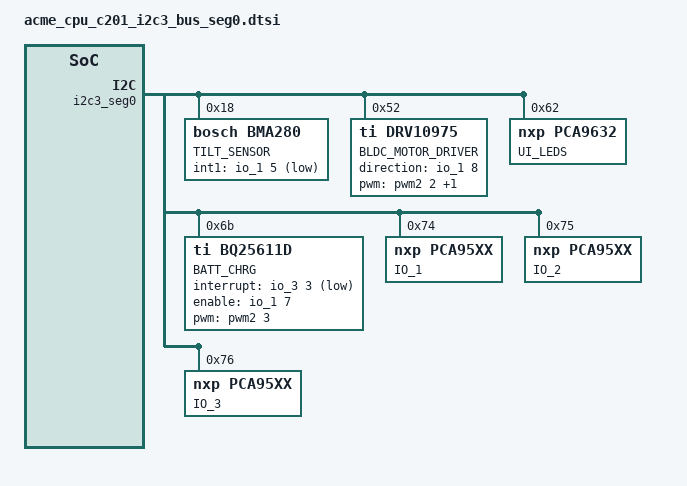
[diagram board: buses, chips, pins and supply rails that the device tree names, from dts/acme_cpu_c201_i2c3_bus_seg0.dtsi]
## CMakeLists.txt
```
# SPDX-License-Identifier: Apache-2.0

cmake_minimum_required(VERSION 3.13.1)

list(APPEND ZEPHYR_EXTRA_MODULES ${CMAKE_CURRENT_SOURCE_DIR}/modules)

set(PROJ_ROOT ${CMAKE_CURRENT_SOURCE_DIR}/)
set(DTS_ROOT ${CMAKE_CURRENT_SOURCE_DIR}/dts)
#set(DTC_OVERLAY_FILE "boards/stm32g474re_disco.overlay")

set(BOARD_ROOT ${CMAKE_CURRENT_LIST_DIR})
set(BOARD stm32g474re_disco)

find_package(Zephyr REQUIRED HINTS $ENV{ZEPHYR_BASE})
project(pca9545_test)

FILE(GLOB app_sources src/*.c)
target_sources(app PRIVATE ${app_sources})
```

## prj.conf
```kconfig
CONFIG_STDOUT_CONSOLE=y
CONFIG_PRINTK=y

CONFIG_I2C=y
CONFIG_I2C_MGM_PCA95XX=y
CONFIG_I2C_MGM_PCA95XX_INIT_PRIORITY=80

CONFIG_SENSOR=y
CONFIG_BMA280=y

CONFIG_ACME_CPU_C201_LED=y
CONFIG_PCA9632=y
```

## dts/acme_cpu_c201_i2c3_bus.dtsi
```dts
/*
 * Copyright (c) 2020 Volodymyr Sirous
 *
 * SPDX-License-Identifier: Apache-2.0
 */


&pinctrl {
  i2c3_scl: gpioc_8 {
    pinmux = <STM32_PINMUX('C', 8, (STM32_PINMUX_ALT_FUNC_8 | STM32_OTYPER_OPEN_DRAIN | STM32_OSPEEDR_HIGH_SPEED))>;
  };

  i2c3_sda: gpioc_9 {
    pinmux = <STM32_PINMUX('C', 9, (STM32_PINMUX_ALT_FUNC_8 | STM32_OTYPER_OPEN_DRAIN | STM32_OSPEEDR_HIGH_SPEED))>;
  };
};

&i2c3 {
  status = "okay";
  clock-frequency = <I2C_BITRATE_FAST>;
  pinctrl-0 = <&i2c3_scl &i2c3_sda>;
/*
  compatible = "st,stm32-i2c-dma-v2";
  dmas = <&dma1 0 0 0x0 0x0>,
	 <&dma1 0 0 0x0 0x0>;
  dma-names = "tx","rx";
  dma-label-tx = "DMA_TX_I2C_3";
  dma-label-rx = "DMA_RX_I2C_3";
*/

  i2c_mux: pca9545a@70 {
    compatible = "ti,pca9545a";
    reg = <0x70>;
    channel-number = <4>;
    label = "I2C_BUS_SWITCH";
    interrupts = <9 16>;
    reset-gpios = <&gpioa 8 GPIO_ACTIVE_LOW>;
    #address-cells = <1>;
    #size-cells = <0>;
/*    #channel-cells = <1>;*/
  
    i2c3_seg0: i2c-mux-ch@0 {
      compatible = "i2c-bus-switch";
      #address-cells = <1>;
      #size-cells = <0>;
      reg = <0>;
      label = "I2C3_SEG_0";
    };

    i2c3_seg1: i2c-mux-ch@1 {
      compatible = "i2c-bus-switch";
      #address-cells = <1>;
      #size-cells = <0>;
      reg = <1>;
      label = "I2C3_SEG_1";
    };
  
    i2c3_seg2: i2c-mux-ch@2 {
      compatible = "i2c-bus-switch";
      #address-cells = <1>;
      #size-cells = <0>;
      reg = <2>;
      label = "I2C3_SEG_2";
    };

    i2c3_seg3: i2c-mux-ch@3 {
      compatible = "i2c-bus-switch";
      #address-cells = <1>;
      #size-cells = <0>;
      reg = <3>;
      label = "I2C3_SEG_3";
    };

  };

};
```

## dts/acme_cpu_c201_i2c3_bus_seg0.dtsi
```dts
/*
 * Copyright (c) 2020 Volodymyr Sirous
 *
 * SPDX-License-Identifier: Apache-2.0
 */

&i2c3_seg0 {

  bma253@18 {
    compatible = "bosch,bma280";
    reg = <0x18>;
    label = "TILT_SENSOR";
    int1-gpios = <&io_1 5 GPIO_ACTIVE_LOW>;
  };

  drv10975@52 {
    compatible = "ti,drv10975";
    reg = <0x52>;
    label = "BLDC_MOTOR_DRIVER";
    direction-gpios = <&io_1 8 GPIO_ACTIVE_HIGH>;
    pwms = <&pwm2 2 10000000 0>,
           <&pwm2 1 10000000 0>;
    pwm-names = "SPEED","TACHO";
  };

  led_drv: pca9632@62 {
    compatible = "nxp,pca9632";
    reg = <0x62>;
    label = "UI_LEDS";
    #pwm-cells = <1>;
  };

  bq25611d@6b {
    compatible = "ti,bq25611d";
    reg = <0x6b>;
    label = "BATT_CHRG";
    interrupt-gpios = <&io_3 3 GPIO_ACTIVE_LOW>;
    enable-gpios = <&io_1 7 GPIO_ACTIVE_HIGH>;
    pwms = <&pwm2 3 10000000 0>;
};

  io_1: pcal9539@74 {
    compatible = "nxp,pca95xx";
    reg = <0x74>;
    gpio-controller;
    has-pud;
    #gpio-cells = <2>;
    ngpios = <16>;
    label = "IO_1";
  };

  io_2: pcal9539@75 {
    compatible = "nxp,pca95xx";
    reg = <0x75>;
    gpio-controller;
    has-pud;
    #gpio-cells = <2>;
    ngpios = <16>;
    label = "IO_2";
  };

  io_3: pcal9539@76 {
    compatible = "nxp,pca95xx";
    reg = <0x76>;
    gpio-controller;
    has-pud;
    #gpio-cells = <2>;
    ngpios = <16>;
    label = "IO_3";
  };

};
```

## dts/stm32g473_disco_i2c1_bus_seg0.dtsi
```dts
/*
 * Copyright (c) 2020 Rohan Dey
 *
 * SPDX-License-Identifier: Apache-2.0
 */

&i2c3_seg0 {
  bma253@18 {
    compatible = "bosch,bma280";
    reg = <0x18>;
    label = "TILT_SENSOR";
    int1-gpios = <&gpioa 5 GPIO_ACTIVE_LOW>;
  };
  
  led_drv: pca9632@62 {
    compatible = "nxp,pca9632";
    reg = <0x62>;
    label = "UI_LEDS";
    #pwm-cells = <1>;
  };
  
};
```

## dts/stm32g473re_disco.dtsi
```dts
/*
 * Copyright (c) 2020 Rohan Dey
 *
 * SPDX-License-Identifier: Apache-2.0
 */

#include <stm32g473re_disco_usart3.dtsi>

#include <stm32g474re_disco_i2c1_bus.dtsi>
#include <stm32g473_disco_i2c1_bus_seg0.dtsi>

/*#include <acme_cpu_c201_i2c3_bus.dtsi>
#include <acme_cpu_c201_i2c3_bus_seg0.dtsi>*/
```

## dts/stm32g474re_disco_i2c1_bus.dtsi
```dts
/*
 * Copyright (c) 2020 Rohan Dey
 * Copyright (c) 2020 Volodymyr Sirous
 *
 * SPDX-License-Identifier: Apache-2.0
 */


&pinctrl {
  i2c1_scl: gpiob_8 {
    pinmux = <STM32_PINMUX('B', 8, AF4)>;
  };

  i2c1_sda: gpiob_9 {
    pinmux = <STM32_PINMUX('B', 9, AF4)>;
  };
};

&i2c1 {
	status = "okay";
	clock-frequency = <I2C_BITRATE_FAST>;
	pinctrl-0 = <&i2c1_scl &i2c1_sda>;
  
		i2c_mux: pca9545a@70 {
	    	compatible = "ti,pca9545a";
	    	status = "okay";
		    reg = <0x70>;
		    channel-number = <4>;
		    label = "I2C_BUS_SWITCH";
		    interrupts = <9 16>;
		    reset-gpios = <&gpioa 8 GPIO_ACTIVE_LOW>;
		    #address-cells = <1>;
		    #size-cells = <0>;
			/*#channel-cells = <1>;*/
  
		    i2c3_seg0: i2c-mux-ch@0 {
		      compatible = "i2c-bus-switch";
		      #address-cells = <1>;
		      #size-cells = <0>;
		      reg = <0>;
		      label = "I2C3_SEG_0";
		    };
		
		    i2c3_seg1: i2c-mux-ch@1 {
		      compatible = "i2c-bus-switch";
		      #address-cells = <1>;
		      #size-cells = <0>;
		      reg = <1>;
		      label = "I2C3_SEG_1";
		    };
		  
		    i2c3_seg2: i2c-mux-ch@2 {
		      compatible = "i2c-bus-switch";
		      #address-cells = <1>;
		      #size-cells = <0>;
		      reg = <2>;
		      label = "I2C3_SEG_2";
		    };
		
		    i2c3_seg3: i2c-mux-ch@3 {
		      compatible = "i2c-bus-switch";
		      #address-cells = <1>;
		      #size-cells = <0>;
		      reg = <3>;
		      label = "I2C3_SEG_3";
		    };	
	  };
};
```

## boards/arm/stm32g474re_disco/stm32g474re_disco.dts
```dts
/*
 * Copyright (c) 2019 STMicroelectronics.
 *
 * SPDX-License-Identifier: Apache-2.0
 */

/dts-v1/;
#include <st/g4/stm32g473Xe.dtsi>
#include <st/g4/stm32g474r(b-c-e)tx-pinctrl.dtsi>
#include <stm32g473re_disco.dtsi>

/ {
	model = "STMicroelectronics STM32G474RE-DISCOVERY board";
	compatible = "st,stm32g474re-disco";

	chosen {
		zephyr,console = &usart3;
		zephyr,shell-uart = &usart3;
		zephyr,sram = &sram0;
		zephyr,flash = &flash0;
	};
	
	/*aliases {
		i2c0 = &i2c1;
	};*/
};

&flash0 {
	/*
	 * For more information, see:
	 * http://docs.zephyrproject.org/latest/guides/dts/index.html#flash-partitions
	 */
	partitions {
		compatible = "fixed-partitions";
		#address-cells = <1>;
		#size-cells = <1>;

		/* Set 2Kb of storage at the end of the 128Kb of flash */
		storage_partition: partition@1f800 {
			label = "storage";
			reg = <0x0001f800 0x00000800>;
		};
	};
};
```

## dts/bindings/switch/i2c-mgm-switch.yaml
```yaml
# Copyright (c) 2020, Volodymyr Sirous
# SPDX-License-Identifier: Apache-2.0

description: I2C Bus Switch Channel Node

compatible: "i2c-bus-switch"

include: [i2c-controller.yaml]

properties:
  reg:
    required: true

  label:
    type: string
    required: true
    description: Human readable string describing the device (used as device_get_binding() argument)

  "#address-cells":
    required: true
    const: 1
  "#size-cells":
    required: true
    const: 0

#child-binding:
#  description: I2C Device Child node
#  properties:

    
```

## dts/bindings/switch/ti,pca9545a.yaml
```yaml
# Copyright (c) 2020, Volodymyr Sirous
# SPDX-License-Identifier: Apache-2.0

include: [i2c-device.yaml]

compatible: "ti,pca9545a"

description: PCA9545A I2C and SMBus Switch with Interrupt Logic and Reset Functions

properties:

  interrupts:
    required: true

  reset-gpios:
    type: phandle-array
    required: false
    description: RESET pin. The RESET pin of PCA9545A is active low.

  channel-number:
    type: int
    required: true
    const: 4
    description: Number of output I2C channels

#  "#channel-cells":
#    type: int
#    required: true
#    const: 1
#    description: Number of items to expect in a I2C Bus Channel specifier

#channel-cells:
#    - channel
```

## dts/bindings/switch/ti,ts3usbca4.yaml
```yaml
# Copyright (c) 2020, Volodymyr Sirous
# SPDX-License-Identifier: Apache-2.0

description: |
    Texas Instruments USB Type-C SBU Multiplexer
    https://www.ti.com/lit/ds/symlink/ts3usbca4.pdf

compatible: "ti,ts3usbca4"

include: i2c-device.yaml

properties:
    oe-gpios:
      type: phandle-array
      required: false
```

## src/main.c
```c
/*
 * Copyright (c) 2021 Rohan Dey
 *
 * SPDX-License-Identifier: Apache-2.0
 */

#include <errno.h>
#include <zephyr.h>
#include <sys/printk.h>
#include <device.h>
#include <drivers/i2c.h>
#include <stdio.h>
#include <drivers/sensor.h>
#include <drivers/led.h>

#define BMA280_LABEL "TILT_SENSOR"
#define PCA9632_LABEL "UI_LEDS"

void main(void) {
	printk("*** Starting PCA9545_TEST ...\n\n");

	const struct device *led_dev;

	led_dev = device_get_binding(PCA9632_LABEL);
	if (!led_dev) {
		printk("Device driver not found.\n");
		return;
	} else {
		printk("device %s found\n", PCA9632_LABEL);
	}

	int ret = led_blink(led_dev, 1, 100, 250);
	if (ret < 0) {
		printk("led_blink failed\n");
	} else {
		printk("led_blink succeeded\n");
	}

	while (1) {
		k_sleep(K_MSEC(1000));
	}
}
```
